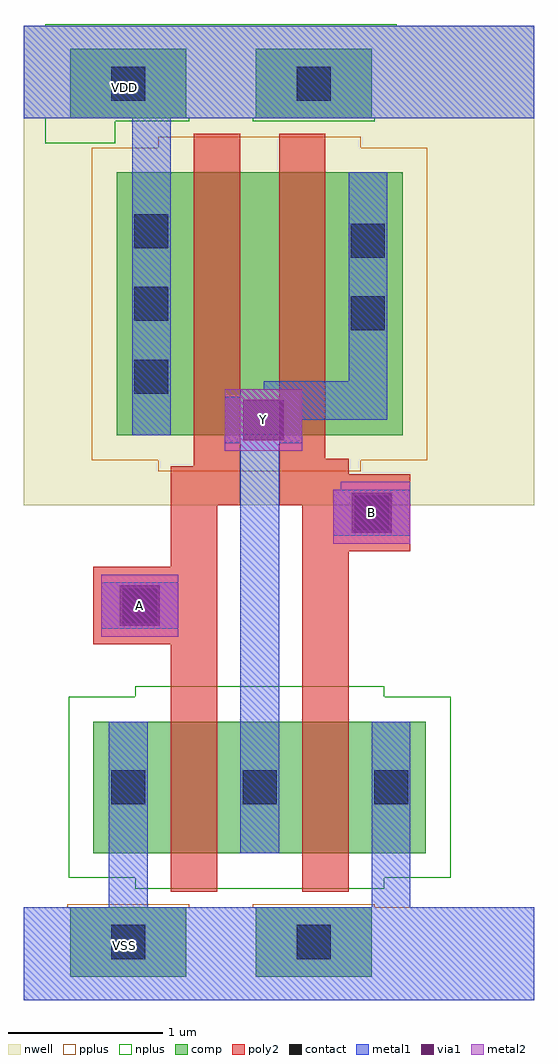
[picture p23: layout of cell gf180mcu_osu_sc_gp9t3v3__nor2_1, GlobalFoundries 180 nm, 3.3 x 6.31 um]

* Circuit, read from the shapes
.subckt gf180mcu_osu_sc_gp9t3v3__nor2_1 A B VDD VSS Y
XM1 Y A VSS VSS nfet_03v3 w=0.85u l=0.3u
XM2 VSS B Y VSS nfet_03v3 w=0.85u l=0.3u
XM3 n1 A VDD VDD pfet_03v3 w=1.7u l=0.3u
XM4 Y B n1 VDD pfet_03v3 w=1.7u l=0.3u
.ends

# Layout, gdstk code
import gdstk
lib = gdstk.Library(unit=1e-6, precision=1e-09)
def R(c, l, rs):  # rectangles x0, y0, x1, y1
    for r in rs: c.add(gdstk.rectangle(r[:2], r[2:], *l))
def A(c, l, x, y, w, h, nx, ny, dx, dy):  # array of equal rectangles
    R(c, l, [(x+i*dx, y+j*dy, x+i*dx+w, y+j*dy+h) for i in range(nx) for j in range(ny)])
nwell = (21, 0)
comp = (22, 0)
poly2 = (30, 0)
pplus = (31, 0)
nplus = (32, 0)
contact = (33, 0)
metal1 = (34, 0)
via1 = (35, 0)
metal2 = (36, 0)

gf180mcu_osu_sc_gp9t3v3_ = lib.new_cell('gf180mcu_osu_sc_gp9t3v3__nor2_1')
R(gf180mcu_osu_sc_gp9t3v3_, nwell, [(0,3.2,3.3,6.3)])
R(gf180mcu_osu_sc_gp9t3v3_, comp, [(0.3,0.15,1.05,0.6), (1.5,0.15,2.25,0.6), (0.45,0.95,2.6,1.8), (0.6,3.65,2.45,5.35), (0.3,5.7,1.05,6.15), (1.5,5.7,2.25,6.15)])
R(gf180mcu_osu_sc_gp9t3v3_, poly2, [(0.95,0.7,1.25,2.3), (1.8,0.7,2.1,2.9), (0.45,2.3,1.25,2.8), (0.95,2.8,1.25,3.2), (1.8,2.9,2.5,3.2), (0.95,3.2,1.4,3.45), (1.65,3.2,2.5,3.4), (1.65,3.4,2.1,3.5), (1.1,3.45,1.4,5.6), (1.65,3.5,1.95,5.6)])
R(gf180mcu_osu_sc_gp9t3v3_, pplus, [(0,0,3.3,0.6), (0.28,0.13,1.07,0.62), (1.48,0.13,2.27,0.62), (0.87,3.42,2.18,3.49), (0.44,3.49,2.61,5.51), (0.87,5.51,2.18,5.58)])
R(gf180mcu_osu_sc_gp9t3v3_, nplus, [(0.72,0.72,2.33,0.79), (0.29,0.79,2.76,1.96), (0.72,1.96,2.33,2.03), (0.14,5.54,0.59,5.68), (0.14,5.68,1.07,5.7), (1.48,5.68,2.27,5.7), (0,5.7,3.3,6.3), (0,5.7,3.3,6.3), (0.14,6.3,2.41,6.31)])
A(gf180mcu_osu_sc_gp9t3v3_, contact, 0.565, 1.265, 0.22, 0.22, 3, 1, 0.85, 0)
A(gf180mcu_osu_sc_gp9t3v3_, contact, 0.715, 3.92, 0.22, 0.22, 1, 3, 0, 0.47)
R(gf180mcu_osu_sc_gp9t3v3_, contact, [(0.565,0.265,0.785,0.485), (1.765,0.265,1.985,0.485), (0.64,2.44,0.86,2.66), (2.14,3.04,2.36,3.26), (2.115,4.33,2.335,4.55), (2.115,4.8,2.335,5.02), (0.565,5.815,0.785,6.035), (1.765,5.815,1.985,6.035)])
R(gf180mcu_osu_sc_gp9t3v3_, metal1, [(0,0,3.3,0.6), (0.55,0.6,0.8,1.8), (2.25,0.6,2.5,1.8), (1.4,0.95,1.65,3.6), (0.5,2.4,1,2.7), (2,3,2.5,3.3), (1.3,3.6,1.8,3.75), (0.7,3.65,0.95,5.7), (1.3,3.75,2.35,3.9), (1.4,3.9,2.35,3.95), (1.55,3.95,2.35,4), (2.1,4,2.35,5.35), (0,5.7,3.3,6.3)])
R(gf180mcu_osu_sc_gp9t3v3_, via1, [(0.62,2.42,0.88,2.68), (2.12,3.02,2.38,3.28), (1.42,3.62,1.68,3.88)])
R(gf180mcu_osu_sc_gp9t3v3_, metal2, [(0.5,2.35,1,2.75), (2,2.95,2.5,3.3), (2.05,3.3,2.5,3.35), (1.3,3.55,1.8,3.95)])
gf180mcu_osu_sc_gp9t3v3_.add(gdstk.Label('VDD', (0.65,5.9), layer=22, texttype=0))
gf180mcu_osu_sc_gp9t3v3_.add(gdstk.Label('VSS', (0.65,0.35), layer=22, texttype=0))
gf180mcu_osu_sc_gp9t3v3_.add(gdstk.Label('A', (0.75,2.55), layer=36, texttype=10))
gf180mcu_osu_sc_gp9t3v3_.add(gdstk.Label('B', (2.25,3.15), layer=36, texttype=10))
gf180mcu_osu_sc_gp9t3v3_.add(gdstk.Label('Y', (1.55,3.75), layer=36, texttype=10))

lib.write_gds('gf180mcu_osu_sc_gp9t3v3__nor2_1.gds')
